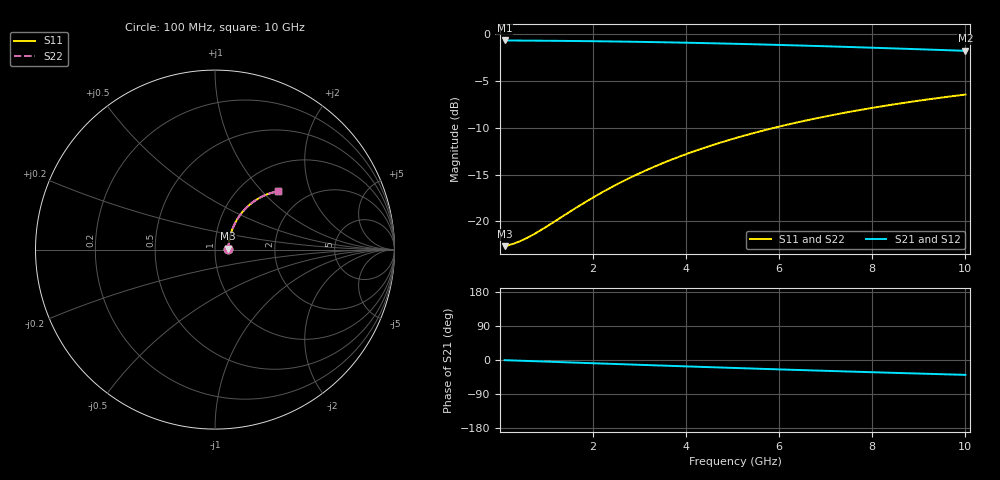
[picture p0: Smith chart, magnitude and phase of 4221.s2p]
# Hz S RI R 50.00
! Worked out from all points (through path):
!   100 points, 100 MHz to 10 GHz, reference 50 ohm
!   highest |S21| = -0.66 dB at 100 MHz (marker M1); lowest = -1.8 dB at 10 GHz (marker M2)
!   group delay of S21, straight-line fit = 10.9 ps
!   lowest |S11| = -22.6 dB at 100 MHz (marker M3), VSWR 1.16, Z = 57.9 + j0.588 ohm
!   |S11| at or under -10 dB: start of sweep to 5.888 GHz
!   |S22| runs from -22.6 to -6.4 dB; largest |S21 - S12| = 0
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1e8  0.0737 0.00504  0.9263 -0.00693  0.9263 -0.00693  0.0737 0.00504
3e8  0.0747 0.0151  0.9252 -0.0208  0.9252 -0.0208  0.0747 0.0151
4e8  0.0753 0.0201  0.9247 -0.0276  0.9247 -0.0276  0.0753 0.0201
5e8  0.0758 0.0251  0.9241 -0.0345  0.9241 -0.0345  0.0758 0.0251
7e8  0.0771 0.0351  0.9228 -0.0483  0.9228 -0.0483  0.0771 0.0351
1e9  0.0795 0.0499  0.9203 -0.0688  0.9203 -0.0688  0.0795 0.0499
1.8e9  0.0886 0.0887  0.9108 -0.1227  0.9108 -0.1227  0.0886 0.0887
2.2e9  0.0947 0.1075  0.9043 -0.1491  0.9043 -0.1491  0.0947 0.1075
2.6e9  0.1019 0.1259  0.8968 -0.175  0.8968 -0.175  0.1019 0.1259
3e9  0.1101 0.1436  0.8882 -0.2003  0.8882 -0.2003  0.1101 0.1436
3.4e9  0.1192 0.1608  0.8786 -0.225  0.8786 -0.225  0.1192 0.1608
3.8e9  0.1292 0.1772  0.8681 -0.249  0.8681 -0.249  0.1292 0.1772
4.2e9  0.14 0.193  0.8567 -0.2724  0.8567 -0.2724  0.14 0.193
4.6e9  0.1516 0.2079  0.8444 -0.2949  0.8444 -0.2949  0.1516 0.2079
5.1e9  0.167 0.2254  0.8281 -0.322  0.8281 -0.322  0.167 0.2254
5.5e9  0.1801 0.2385  0.8142 -0.3426  0.8142 -0.3426  0.1801 0.2385
5.9e9  0.1937 0.2507  0.7998 -0.3625  0.7998 -0.3625  0.1937 0.2507
6.7e9  0.2222 0.2723  0.7693 -0.3995  0.7693 -0.3995  0.2222 0.2723
7.5e9  0.2521 0.2904  0.7373 -0.4329  0.7373 -0.4329  0.2521 0.2904
8.4e9  0.2867 0.3064  0.6999 -0.4664  0.6999 -0.4664  0.2867 0.3064
9.2e9  0.3178 0.3169  0.666 -0.4925  0.666 -0.4925  0.3178 0.3169
1e10  0.3488 0.3242  0.632 -0.5154  0.632 -0.5154  0.3488 0.3242
